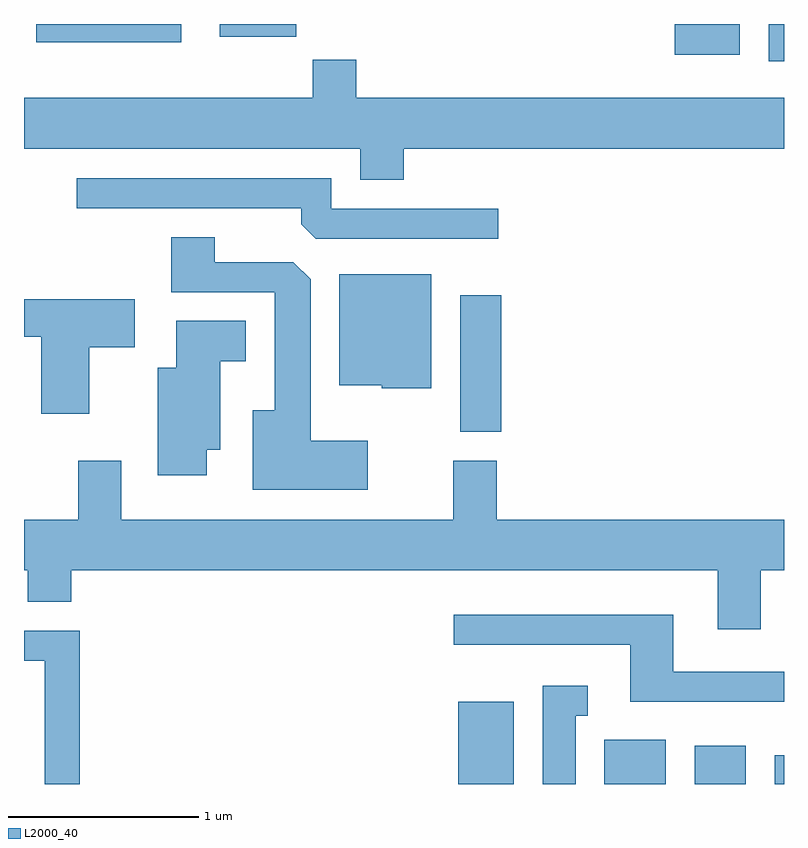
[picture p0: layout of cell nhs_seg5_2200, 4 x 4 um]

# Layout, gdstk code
import gdstk
lib = gdstk.Library(unit=1e-6, precision=1e-09)
def R(c, l, rs):  # rectangles x0, y0, x1, y1
    for r in rs: c.add(gdstk.rectangle(r[:2], r[2:], *l))
def P(c, l, *ps):  # polygons
    for p in ps: c.add(gdstk.Polygon(p, *l))
L2000_40 = (2000, 40)

nhs_seg5_2200 = lib.new_cell('nhs_seg5_2200')
R(nhs_seg5_2200, L2000_40, [(251.896,1500.072,252.189,1500.504), (252.666,1500.072,252.989,1500.304), (253.141,1500.072,253.409,1500.274), (253.561,1500.072,253.611,1500.224), (251.906,1501.926,252.124,1502.644), (253.531,1503.876,253.611,1504.072), (253.036,1503.911,253.379,1504.072), (249.676,1503.976,250.439,1504.072), (250.641,1504.006,251.044,1504.072)])
P(nhs_seg5_2200, L2000_40, [(251.131,1503.884),(251.131,1503.684),(249.611,1503.684),(249.611,1503.416),(251.381,1503.416),(251.381,1503.251),(251.609,1503.251),(251.609,1503.416),(253.611,1503.416),(253.611,1503.684),(251.359,1503.684),(251.359,1503.884)],
  [(252.108,1503.099),(251.229,1503.099),(251.229,1503.259),(249.888,1503.259),(249.888,1503.101),(251.071,1503.101),(251.071,1503.017),(251.147,1502.941),(252.108,1502.941)],
  [(251.419,1501.879),(251.119,1501.879),(251.119,1502.729),(251.029,1502.819),(250.614,1502.819),(250.614,1502.949),(250.386,1502.949),(250.386,1502.661),(250.931,1502.661),(250.931,1502.039),(250.816,1502.039),(250.816,1501.621),(251.419,1501.621)],
  [(251.754,1502.754),(251.271,1502.754),(251.271,1502.171),(251.495,1502.171),(251.495,1502.156),(251.754,1502.156)],
  [(249.954,1502.371),(250.194,1502.371),(250.194,1502.624),(249.611,1502.624),(249.611,1502.426),(249.701,1502.426),(249.701,1502.021),(249.954,1502.021)],
  [(250.574,1501.831),(250.644,1501.831),(250.644,1502.296),(250.779,1502.296),(250.779,1502.509),(250.411,1502.509),(250.411,1502.264),(250.316,1502.264),(250.316,1501.696),(250.574,1501.696)],
  [(253.489,1501.196),(253.611,1501.196),(253.611,1501.464),(252.099,1501.464),(252.099,1501.774),(251.871,1501.774),(251.871,1501.464),(250.124,1501.464),(250.124,1501.774),(249.896,1501.774),(249.896,1501.464),(249.611,1501.464),(249.611,1501.196),(249.631,1501.196),(249.631,1501.031),(249.859,1501.031),(249.859,1501.196),(253.261,1501.196),(253.261,1500.886),(253.489,1500.886)],
  [(253.611,1500.664),(253.029,1500.664),(253.029,1500.964),(251.873,1500.964),(251.873,1500.806),(252.801,1500.806),(252.801,1500.506),(253.611,1500.506)],
  [(249.904,1500.879),(249.611,1500.879),(249.611,1500.721),(249.721,1500.721),(249.721,1500.072),(249.904,1500.072)],
  [(252.514,1500.431),(252.578,1500.431),(252.578,1500.589),(252.341,1500.589),(252.341,1500.072),(252.514,1500.072)])

lib.write_gds('nhs_seg5_2200.gds')
